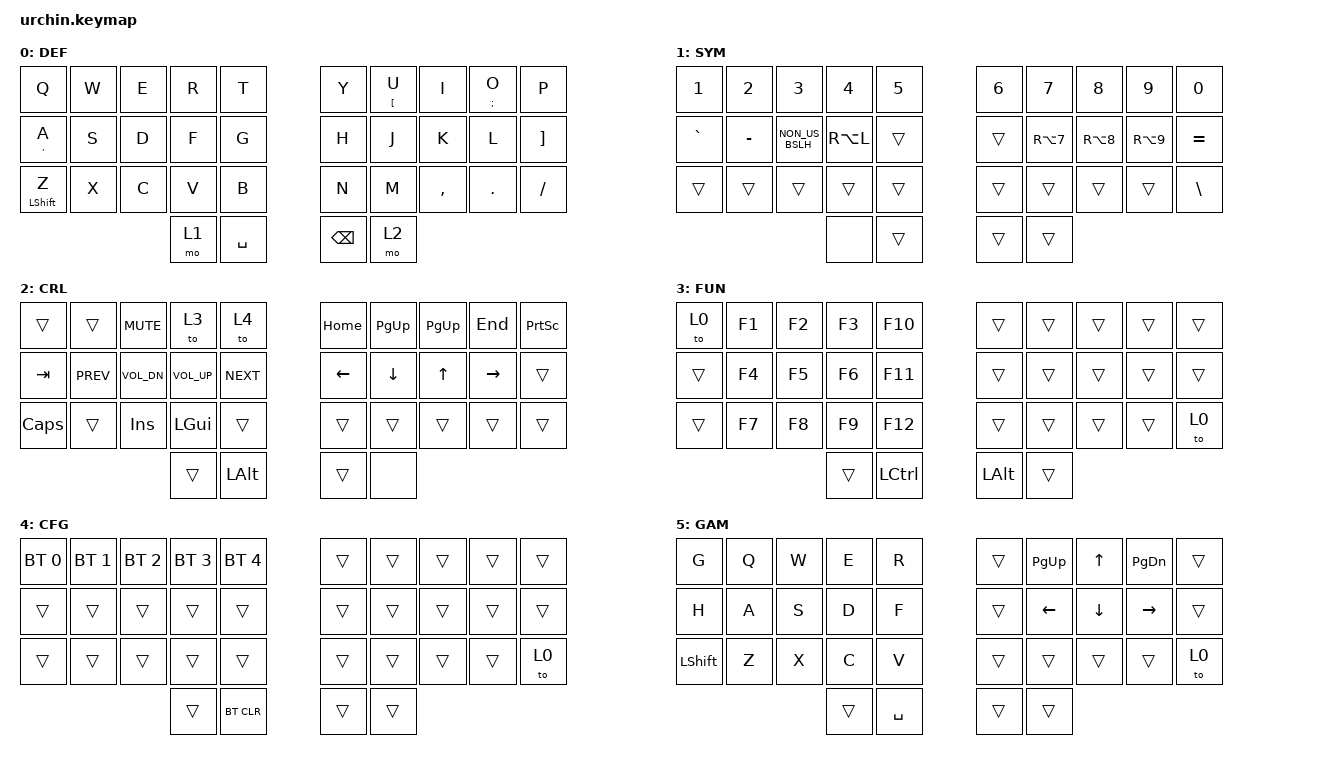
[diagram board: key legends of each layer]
/*
 * Copyright (c) 2020 duckyb
 *
 * SPDX-License-Identifier: MIT
 */

#include <behaviors.dtsi>
#include <dt-bindings/zmk/bt.h>
#include <dt-bindings/zmk/keys.h>
#include "keymap_italian.h"

// Layer definitions

#define BASE 0
#define SYM 1
#define EXT 2
#define FNC 3
#define SYM2 4
#define ACCENT 5
#define SETTINGS 6

// -----------------

&mt {
    quick-tap-ms = <100>;
    flavor = "balanced";
};

/ {
    behaviors {
        // Enables holding the first mod-tap key
        // by performing a tap-release-hold sequence.
        // To use it: "&qt KEYCODE1 KEYCODE2"
    };

    macros {
        // sometimes my device thinks a modifier is being held down
        // pressing all modifiers fixes it.
    };

    combos {
        compatible = "zmk,combos";

        // both right thumb keys
        // internal-left & external-right thumb keys
        // both left thumb keys
        // left index & middle fingers (home-row)
        // hold control & space for Adobe workflow

        combo_esc {
            bindings = <&kp ESC>;
            key-positions = <0 1>;
        };

        combo_ret {
            bindings = <&kp RET>;
            key-positions = <8 9>;
        };

        COMBO_MLG {
            bindings = <&to 5>;
            key-positions = <30 31 32 33>;
        };
    };

    keymap {
        compatible = "zmk,keymap";

        // Base alpha layer

        default_layer {
            label = "DEF";
            bindings = <
&kp Q         &kp W  &kp E  &kp R  &kp T      &kp Y          &mt LEFT_BRACKET U  &kp I      &mt SEMI O  &kp P
&mt APOS A    &kp S  &kp D  &kp F  &kp G      &kp H          &kp J               &kp K      &kp L       &kp RIGHT_BRACKET
&mt LSHIFT Z  &kp X  &kp C  &kp V  &kp B      &kp N          &kp M               &kp COMMA  &kp DOT     &kp SLASH
                            &mo 1  &kp SPACE  &kp BACKSPACE  &mo 2
            >;
        };

        // Numbers and high frequency symbols

        symbol_layer {
            label = "SYM";
            bindings = <
&kp N1     &kp N2     &kp N3           &kp N4     &kp N5  &kp N6  &kp N7      &kp N8      &kp N9      &kp N0
&kp GRAVE  &kp MINUS  &kp NON_US_BSLH  &kp RA(L)  &trans  &trans  &kp RA(N7)  &kp RA(N8)  &kp RA(N9)  &kp EQUAL
&trans     &trans     &trans           &trans     &trans  &trans  &trans      &trans      &trans      &kp BACKSLASH
                                       &none      &trans  &trans  &trans
            >;
        };

        // Main modifiers and arrow keys

        control_layer {
            label = "CRL";
            bindings = <
&trans    &trans      &kp C_MUTE    &to 3         &to 4       &kp HOME  &kp PG_UP  &kp PG_UP  &kp END    &kp PRINTSCREEN
&kp TAB   &kp C_PREV  &kp C_VOL_DN  &kp C_VOL_UP  &kp C_NEXT  &kp LEFT  &kp DOWN   &kp UP     &kp RIGHT  &trans
&kp CAPS  &trans      &kp INS       &kp LEFT_GUI  &trans      &trans    &trans     &trans     &trans     &trans
                                    &trans        &kp LALT    &trans    &none
            >;
        };

        // Function keys with modifiers

        function_layer {
            label = "FUN";
            bindings = <
&to 0   &kp F1  &kp F2  &kp F3  &kp F10    &trans        &trans  &trans  &trans  &trans
&trans  &kp F4  &kp F5  &kp F6  &kp F11    &trans        &trans  &trans  &trans  &trans
&trans  &kp F7  &kp F8  &kp F9  &kp F12    &trans        &trans  &trans  &trans  &to 0
                        &trans  &kp LCTRL  &kp LEFT_ALT  &trans
            >;
        };

        // Low frequency symbols.

        config_layer {
            label = "CFG";
            bindings = <
&bt BT_SEL 0  &bt BT_SEL 1  &bt BT_SEL 2  &bt BT_SEL 3  &bt BT_SEL 4  &trans  &trans  &trans  &trans  &trans
&trans        &trans        &trans        &trans        &trans        &trans  &trans  &trans  &trans  &trans
&trans        &trans        &trans        &trans        &trans        &trans  &trans  &trans  &trans  &to 0
                                          &trans        &bt BT_CLR    &trans  &trans
            >;
        };

        game_layer {
            bindings = <
&kp G      &kp Q  &kp W  &kp E   &kp R      &trans  &kp PG_UP  &kp UP    &kp PG_DN  &trans
&kp H      &kp A  &kp S  &kp D   &kp F      &trans  &kp LEFT   &kp DOWN  &kp RIGHT  &trans
&kp LSHFT  &kp Z  &kp X  &kp C   &kp V      &trans  &trans     &trans    &trans     &to 0
                         &trans  &kp SPACE  &trans  &trans
            >;

            label = "GAM";
        };

        // Used to type regional accents.
        // Used to change the keyboard's settings.
    };
};
